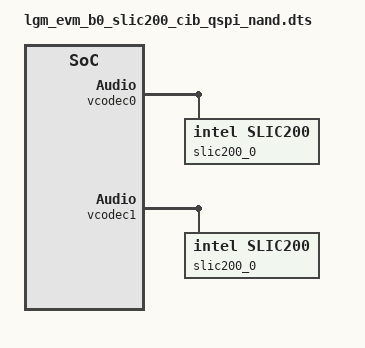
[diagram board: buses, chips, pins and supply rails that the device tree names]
#include "lgm_evm_b0_qspi_nand.dts"

/* Set type of DC/DC converter to CIB12 */
&vcodec0 {
	slic200_0 {
		compatible = "intel,slic200";
		dcdc_type = "CIB";
	};
};

&vcodec1 {
	slic200_0 {
		compatible = "intel,slic200";
		dcdc_type = "CIB";
	};
};
